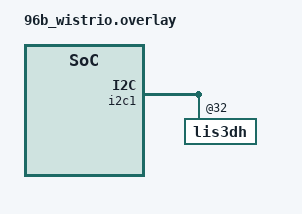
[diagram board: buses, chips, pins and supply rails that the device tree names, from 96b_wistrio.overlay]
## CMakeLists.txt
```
cmake_minimum_required(VERSION 3.13.1)

list(APPEND BOARD_ROOT ${CMAKE_CURRENT_SOURCE_DIR}/..)
# set(BOARD cjmcu8223)

find_package(Zephyr REQUIRED HINTS $ENV{ZEPHYR_BASE})

project(cjmcu8223_sample)

target_sources(app PRIVATE src/main.c)
```

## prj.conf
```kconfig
# enable debugging
CONFIG_DEBUG=y
CONFIG_OBJECT_TRACING=y
CONFIG_DEBUG_INFO=y
CONFIG_STDOUT_CONSOLE=y
#CONFIG_SYS_LOG=y

#CONFIG_GPIO=y

# CONFIG_SYS_LOG_DEFAULT_LEVEL=4
# CONFIG_SYS_LOG_I2C_LEVEL=4
# CONFIG_SYS_LOG_SENSOR_LEVEL=4

# slower data rate?
#CONFIG_LIS3DH_ODR_5=y

#CONFIG_SYS_POWER_MANAGEMENT=y
#CONFIG_SYS_POWER_LOW_POWER_STATE=y
#CONFIG_TICKLESS_KERNEL=y
#CONFIG_TICKLESS_KERNEL_TIME_UNIT_IN_MICRO_SECS=1000
#CONFIG_DEVICE_POWER_MANAGEMENT=y
```

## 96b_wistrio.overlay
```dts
&i2c1 {
	lis3dh@32 {
        status = "okay";
	};
};
```

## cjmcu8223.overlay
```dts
&i2c0 {
	lis3dh@19 {
		status = "okay";
	};
};
```

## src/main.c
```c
/*
 * Copyright (c) 2018 Kiril Zyapkov
 *
 * SPDX-License-Identifier: Apache-2.0
 */

#include <zephyr.h>
#include <init.h>
#include <stdio.h>

#include <drivers/gpio.h>
#include <drivers/sensor.h>

#include <logging/log.h>
LOG_MODULE_REGISTER(app, LOG_LEVEL_INF);

void accel_readout(const struct device *acc)
{
	int err;
	if (acc == NULL) return;
	struct sensor_value accel[3];
	err = sensor_sample_fetch(acc);
	if (err) {
		LOG_WRN("the sensor crapped: %d", err);
		return;
	}
	err = sensor_channel_get(acc, SENSOR_CHAN_ACCEL_XYZ, accel);
	if (err) {
		LOG_WRN("data is crap: %d", err);
		return;
	}
	/* Print accel x,y,z and mag x,y,z data */
	printf("\rAX=%10.6f AY=%10.6f AZ=%10.6f",
		sensor_value_to_double(&accel[0]),
		sensor_value_to_double(&accel[1]),
		sensor_value_to_double(&accel[2]));
}

void main(void)
{
	LOG_INF("Hello CJMCU-8332!");

	const struct device *acc;

	// acc = device_get_binding("LIS3DH");
	// acc = device_get_binding(DT_LABEL(DT_INST(0, st_lis3dh)));
	acc = DEVICE_DT_GET(DT_INST(0, st_lis3dh));

	if (acc == NULL) {
		LOG_ERR("NO ACC DEVICE!");
		return;
	}
	LOG_INF("temp device is %p, name is %s", acc, acc->name);

	while (true) {
		accel_readout(acc);
		k_msleep(20);
	}
}
```
